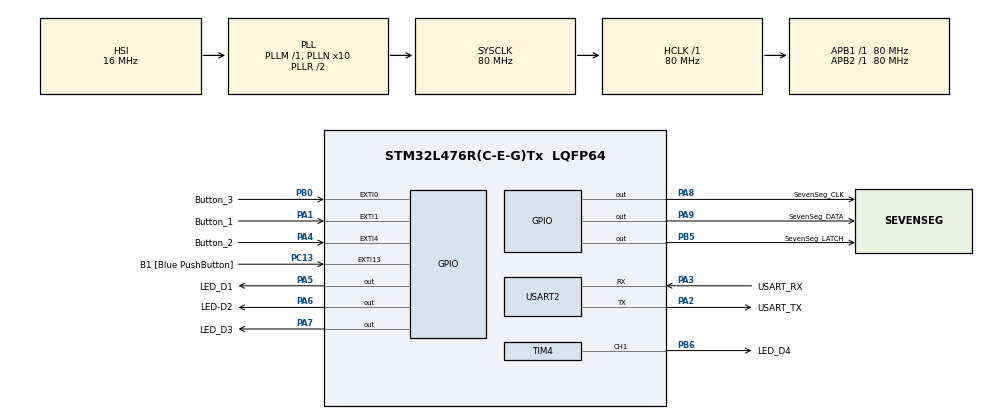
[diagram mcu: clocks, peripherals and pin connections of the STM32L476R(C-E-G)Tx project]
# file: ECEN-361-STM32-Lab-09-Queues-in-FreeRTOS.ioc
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FREERTOS.BinarySemaphores01=ProcessSemaphore,Dynamic,NULL
FREERTOS.Queues01=ASCII_Char_Queue,50,uint8_t,0,Static,ASCII_Char_QueueBuffer,ASCII_Char_QueueControlBlock
FREERTOS.Tasks01=defaultTask,24,512,StartDefaultTask,Default,NULL,Dynamic,NULL,NULL
FREERTOS.Timers01=RandomSymbolTimer,Add_Random_Symbols_to_Queue,osTimerPeriodic,Default,NULL,Dynamic,NULL;lowercaseTimer,Add_Random_lowercase_to_Queue,osTimerPeriodic,Default,NULL,Dynamic,NULL
FREERTOS.configTOTAL_HEAP_SIZE=50000
FREERTOS.configUSE_NEWLIB_REENTRANT=1
Mcu.Family=STM32L4
Mcu.Name=STM32L476R(C-E-G)Tx
Mcu.Package=LQFP64
NVIC.EXTI0_IRQn=true\:5\:0\:false\:false\:true\:true\:true\:true\:true
NVIC.EXTI15_10_IRQn=true\:5\:0\:false\:false\:true\:true\:true\:true\:true
NVIC.EXTI1_IRQn=true\:5\:0\:false\:false\:true\:true\:true\:true\:true
NVIC.EXTI4_IRQn=true\:5\:0\:false\:false\:true\:true\:true\:true\:true
NVIC.PriorityGroup=NVIC_PRIORITYGROUP_4
NVIC.TIM1_TRG_COM_TIM17_IRQn=true\:5\:0\:false\:false\:true\:true\:true\:true\:true
NVIC.TIM2_IRQn=true\:15\:0\:false\:false\:true\:false\:false\:true\:true
NVIC.TIM7_IRQn=true\:5\:0\:false\:false\:true\:true\:true\:true\:true
NVIC.TimeBase=TIM2_IRQn
NVIC.TimeBaseIP=TIM2
NVIC.USART2_IRQn=true\:5\:0\:false\:false\:true\:true\:true\:true\:true
PA1.GPIO_Label=Button_1
PA1.GPIO_ModeDefaultEXTI=GPIO_MODE_IT_FALLING
PA1.Signal=GPXTI1
PA13\ (JTMS-SWDIO).GPIO_Label=TMS
PA13\ (JTMS-SWDIO).Mode=Serial_Wire
PA13\ (JTMS-SWDIO).Signal=SYS_JTMS-SWDIO
PA14\ (JTCK-SWCLK).GPIO_Label=TCK
PA14\ (JTCK-SWCLK).Mode=Serial_Wire
PA14\ (JTCK-SWCLK).Signal=SYS_JTCK-SWCLK
PA2.GPIO_Label=USART_TX
PA2.GPIO_Mode=GPIO_MODE_AF_PP
PA2.GPIO_PuPd=GPIO_NOPULL
PA2.GPIO_Speed=GPIO_SPEED_FREQ_VERY_HIGH
PA2.Mode=Asynchronous
PA2.Signal=USART2_TX
PA3.GPIO_Label=USART_RX
PA3.GPIO_Mode=GPIO_MODE_AF_PP
PA3.GPIO_PuPd=GPIO_NOPULL
PA3.GPIO_Speed=GPIO_SPEED_FREQ_VERY_HIGH
PA3.Mode=Asynchronous
PA3.Signal=USART2_RX
PA4.GPIO_Label=Button_2
PA4.GPIO_ModeDefaultEXTI=GPIO_MODE_IT_FALLING
PA4.Signal=GPXTI4
PA5.GPIO_Label=LED_D1
PA5.GPIO_ModeDefaultOutputPP=GPIO_MODE_OUTPUT_OD
PA5.GPIO_PuPd=GPIO_PULLUP
PA5.Signal=GPIO_Output
PA6.GPIO_Label=LED-D2
PA6.GPIO_ModeDefaultOutputPP=GPIO_MODE_OUTPUT_OD
PA6.GPIO_PuPd=GPIO_PULLUP
PA6.Signal=GPIO_Output
PA7.GPIO_Label=LED_D3
PA7.Signal=GPIO_Output
PA8.GPIO_Label=SevenSeg_CLK
PA8.Signal=GPIO_Output
PA9.GPIO_Label=SevenSeg_DATA
PA9.Signal=GPIO_Output
PB0.GPIO_Label=Button_3
PB0.GPIO_ModeDefaultEXTI=GPIO_MODE_IT_FALLING
PB0.Signal=GPXTI0
PB3\ (JTDO-TRACESWO).Signal=SYS_JTDO-SWO
PB5.GPIO_Label=SevenSeg_LATCH
PB5.Signal=GPIO_Output
PB6.GPIO_FM6=SYSCFG_FASTMODEPLUS_PB6
PB6.GPIO_Label=LED_D4
PB6.GPIO_ModeDefaultPP=GPIO_MODE_AF_OD
PB6.GPIO_PuPd=GPIO_NOPULL
PB6.GPIO_Speed=GPIO_SPEED_FREQ_VERY_HIGH
PB6.Signal=S_TIM4_CH1
PC1.GPIO_Label=LM35_IN
PC1.Signal=ADCx_IN2
PC13.GPIO_Label=B1 [Blue PushButton]
PC13.GPIO_ModeDefaultEXTI=GPIO_MODE_IT_FALLING
PC13.GPIO_PuPd=GPIO_NOPULL
PC13.Signal=GPXTI13
PC14-OSC32_IN\ (PC14).Mode=LSE-External-Oscillator
PC14-OSC32_IN\ (PC14).Signal=RCC_OSC32_IN
PC15-OSC32_OUT\ (PC15).Mode=LSE-External-Oscillator
PC15-OSC32_OUT\ (PC15).Signal=RCC_OSC32_OUT
PH0-OSC_IN\ (PH0).Signal=RCC_OSC_IN
PH1-OSC_OUT\ (PH1).Signal=RCC_OSC_OUT
ProjectManager.HeapSize=0x200
ProjectManager.StackSize=0x400
ProjectManager.TargetToolchain=STM32CubeIDE
RCC.ADCFreq_Value=64000000
RCC.AHBFreq_Value=80000000
RCC.APB1Freq_Value=80000000
RCC.APB1TimFreq_Value=80000000
RCC.APB2Freq_Value=80000000
RCC.APB2TimFreq_Value=80000000
RCC.CortexFreq_Value=80000000
RCC.HCLKFreq_Value=80000000
RCC.HSE_VALUE=8000000
RCC.HSI_VALUE=16000000
RCC.MSI_VALUE=4000000
RCC.PLLN=10
RCC.PLLSourceVirtual=RCC_PLLSOURCE_HSI
RCC.PREFETCH_ENABLE=1
RCC.SYSCLKFreq_VALUE=80000000
RCC.SYSCLKSource=RCC_SYSCLKSOURCE_PLLCLK
RCC.USBFreq_Value=64000000
RCC.VCOOutputFreq_Value=160000000
SH.ADCx_IN2.0=ADC1_IN2
SH.S_TIM4_CH1.0=TIM4_CH1,PWM Generation1 CH1
TIM17.Period=100
TIM17.Prescaler=800-1
TIM4.Channel-PWM\ Generation1\ CH1=TIM_CHANNEL_1
TIM4.OCFastMode_PWM-PWM\ Generation1\ CH1=TIM_OCFAST_DISABLE
TIM4.OCPolarity_1=TIM_OCPOLARITY_LOW
TIM4.Period=65535
TIM4.Prescaler=8
TIM4.Pulse-PWM\ Generation1\ CH1=16000
TIM7.Period=1000
TIM7.Prescaler=8000 - 1
USART2.VirtualMode-Asynchronous=VM_ASYNC
VP_FREERTOS_VS_CMSIS_V2.Mode=CMSIS_V2
VP_SYS_VS_tim2.Mode=TIM2
VP_TIM17_VS_ClockSourceINT.Mode=Enable_Timer
VP_TIM4_VS_ClockSourceINT.Mode=Internal
VP_TIM7_VS_ClockSourceINT.Mode=Enable_Timer
board=NUCLEO-L476RG

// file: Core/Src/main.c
/* USER CODE BEGIN Header */
/**
  ******************************************************************************
  * @file           : main.c
  * @brief          : ECEN-361-Lab-08  Queues
  *
  * BYU-Idaho
  * Fall-2023 :   Lynn Watson
  *
  * See the  STUDENTS EDITABLE places below to modify for submission
  *
  ******************************************************************************
  */
/* USER CODE END Header */
#include "main.h"
#include "cmsis_os.h"

/* USER CODE BEGIN Includes */
#include "MultiFunctionShield.h"
#include <stdio.h>
#include <stdlib.h>
#include <stdbool.h>
#include <math.h>
#include <ctype.h>
#include "queue.h"

/* USER CODE END Includes */

typedef StaticQueue_t osStaticMessageQDef_t;

/* USER CODE BEGIN PD */
#define QUEUE_SIZE 50

/* USER CODE END PD */

TIM_HandleTypeDef htim4;
TIM_HandleTypeDef htim7;
TIM_HandleTypeDef htim17;

UART_HandleTypeDef huart2;

/* Definitions for defaultTask */
osThreadId_t defaultTaskHandle;
const osThreadAttr_t defaultTask_attributes = {
  .name = "defaultTask",
  .stack_size = 512 * 4,
  .priority = (osPriority_t) osPriorityNormal,
};
/* Definitions for ASCII_Char_Queue */
osMessageQueueId_t ASCII_Char_QueueHandle;
uint8_t ASCII_Char_QueueBuffer[ 50 * sizeof( uint8_t ) ];
osStaticMessageQDef_t ASCII_Char_QueueControlBlock;
const osMessageQueueAttr_t ASCII_Char_Queue_attributes = {
  .name = "ASCII_Char_Queue",
  .cb_mem = &ASCII_Char_QueueControlBlock,
  .cb_size = sizeof(ASCII_Char_QueueControlBlock),
  .mq_mem = &ASCII_Char_QueueBuffer,
  .mq_size = sizeof(ASCII_Char_QueueBuffer)
};
/* Definitions for RandomSymbolTimer */
osTimerId_t RandomSymbolTimerHandle;
const osTimerAttr_t RandomSymbolTimer_attributes = {
  .name = "RandomSymbolTimer"
};
/* Definitions for lowercaseTimer */
osTimerId_t lowercaseTimerHandle;
const osTimerAttr_t lowercaseTimer_attributes = {
  .name = "lowercaseTimer"
};
/* Definitions for ProcessSemaphore */
osSemaphoreId_t ProcessSemaphoreHandle;
const osSemaphoreAttr_t ProcessSemaphore_attributes = {
  .name = "ProcessSemaphore"
};
/* USER CODE BEGIN PV */

const osThreadAttr_t bigStackTask_attributes = {
  .name = "bigStackTask",
  .stack_size = 2048 * 4,
  .priority = (osPriority_t) osPriorityNormal,
};

/* Here are pointers to the tasks so I can suspend/resume */
osThreadId_t bigTaskHandle;
const osThreadAttr_t bigTask_attributes = {
  .name = "bigTask",
  .stack_size = 2048 * 4,
  .priority = (osPriority_t) osPriorityNormal,
};

osThreadId_t Display_Queue_Status_Task_Handle;
osThreadId_t Process_Queue_Task_Handle;

/* USER CODE END PV */

void SystemClock_Config(void);
static void MX_GPIO_Init(void);
static void MX_USART2_UART_Init(void);
static void MX_TIM17_Init(void);
static void MX_TIM4_Init(void);
static void MX_TIM7_Init(void);
void StartDefaultTask(void *argument);
void Add_Random_Symbols_to_Queue(void *argument);
void Add_Random_lowercase_to_Queue(void *argument);

/* USER CODE BEGIN PFP */
/* Private function prototypes -----------------------------------------------*/
void Process_Queue_Task(void *argument);
void Display_Queue_Status_Task(void *argument);
void process_button_Task(void *argument);
#define PUTCHAR_PROTOTYPE int __io_putchar(int ch)
void Random_Symbols_is_Running_Task(void *argument);
void Random_lowercase_is_Running_Task(void *argument);
// void Read_and_Transmit_Task();
// void Receive_and_Print_Task();

/* USER CODE END PFP */

/* USER CODE BEGIN 0 */
/*** Globals *********/
uint8_t RX_Buffer[BUFFER_SIZE] = {0};
uint8_t recvd_data; // byte in from USART

/*** Timings for the producers and consumers ****************/
/**************  Producers **********************************/
int Random_Symbol_Timer_Speed = 1500;     /* A symbol every 1.5-second */
int Random_lowercase_Timer_Speed = 1800;  /* A lowercase every  1.8 second */
/**************  Consumer  **********************************/
int read_pacing_delay = 2000;		// Millisec to wait before taking each character
/************************************************************/

/*Switch 3 */
bool resetQueue=false;
osStatus_t timer_status;
uint8_t button_pushed = 0;			// button to go to processes
bool  randoms_running = true;		// toggle with Switch S3

char get_random_char(int bottom,int top)
	{
	uint8_t rand_char;
	rand_char =  rand() % (top-bottom);
	/* the rand is in the range, so index it from the bottom */
	return rand_char + bottom;

	}

/* USER CODE END 0 */

int main(void)
{

  /* MCU Configuration--------------------------------------------------------*/

  /* Reset of all peripherals, Initializes the Flash interface and the Systick. */
  HAL_Init();

  /* Configure the system clock */
  SystemClock_Config();

  /* Initialize all configured peripherals */
  MX_GPIO_Init();
  MX_USART2_UART_Init();
  MX_TIM17_Init();
  MX_TIM4_Init();
  MX_TIM7_Init();
  /* USER CODE BEGIN 2 */

  // Start timer
  HAL_TIM_Base_Start_IT(&htim17);							// LED SevenSeg cycle thru them
  MultiFunctionShield_Clear();								// Clear the 7-seg display
  Clear_LEDs();												// Clear the lights
  printf("\033\143");
  printf("\033[6;3HHello\r\n");
  printf("\033\143");
  printf("Welcome to ECEN-361 Lab-07\n\r\n\r");
  printf("Button_1:  Toggles Symbols     Button_2:  Toggles Lowercase \n\r\n\r");
  HAL_UART_Receive_IT(&huart2,&recvd_data,1); //start next data receive interrupt
/**
 * Note that Timer-1 Channel 1 goes to our MultiBoard D3, and it's Negative True output
 *
 */

  /* USER CODE END 2 */

  /* Init scheduler */
  osKernelInitialize();

  /* Create the semaphores(s) */
  /* creation of ProcessSemaphore */
  ProcessSemaphoreHandle = osSemaphoreNew(1, 0, &ProcessSemaphore_attributes);

  /* Create the timer(s) */
  /* creation of RandomSymbolTimer */
  RandomSymbolTimerHandle = osTimerNew(Add_Random_Symbols_to_Queue, osTimerPeriodic, NULL, &RandomSymbolTimer_attributes);

  /* creation of lowercaseTimer */
  lowercaseTimerHandle = osTimerNew(Add_Random_lowercase_to_Queue, osTimerPeriodic, NULL, &lowercaseTimer_attributes);

  /* USER CODE BEGIN RTOS_TIMERS */
  /* start timers, add new ones, ... */

  /** Start sending random symbols **/
  timer_status = osTimerStart(RandomSymbolTimerHandle,Random_Symbol_Timer_Speed);
  timer_status = osTimerStart(lowercaseTimerHandle,Random_lowercase_Timer_Speed);

  /* USER CODE END RTOS_TIMERS */

  /* Create the queue(s) */
  /* creation of ASCII_Char_Queue */
  ASCII_Char_QueueHandle = osMessageQueueNew (50, sizeof(uint8_t), &ASCII_Char_Queue_attributes);

  /* Create the thread(s) */
  /* creation of defaultTask */
  defaultTaskHandle = osThreadNew(StartDefaultTask, NULL, &defaultTask_attributes);

  /* USER CODE BEGIN RTOS_THREADS */
  /* add threads, ... */
  osThreadNew(Random_Symbols_is_Running_Task, "Random_Symbols_is_Running_Task", &defaultTask_attributes);
  osThreadNew(Random_lowercase_is_Running_Task, "Random_lowercase_is_Running_Task", &defaultTask_attributes);
  osThreadNew(Process_Queue_Task,"Process_Queue_Task", &defaultTask_attributes);
  osThreadNew(Display_Queue_Status_Task,"DisplayQueueStatus" , &defaultTask_attributes);
  osThreadNew(process_button_Task,"Process Button Task" , &bigTask_attributes);

  /* USER CODE END RTOS_THREADS */

  /* Start scheduler */
  osKernelStart();

  /* We should never get here as control is now taken by the scheduler */

  /* Infinite loop */
  while (1)
	  {

    /* USER CODE BEGIN 3 */
		// Read_and_Transmit_Task();
		}
  /* USER CODE END 3 */
}

void SystemClock_Config(void)
{
  RCC_OscInitTypeDef RCC_OscInitStruct = {0};
  RCC_ClkInitTypeDef RCC_ClkInitStruct = {0};

  /** Configure the main internal regulator output voltage
  */
  if (HAL_PWREx_ControlVoltageScaling(PWR_REGULATOR_VOLTAGE_SCALE1) != HAL_OK)
  {
    Error_Handler();
  }

  /** Initializes the RCC Oscillators according to the specified parameters
  * in the RCC_OscInitTypeDef structure.
  */
  RCC_OscInitStruct.OscillatorType = RCC_OSCILLATORTYPE_HSI;
  RCC_OscInitStruct.HSIState = RCC_HSI_ON;
  RCC_OscInitStruct.HSICalibrationValue = RCC_HSICALIBRATION_DEFAULT;
  RCC_OscInitStruct.PLL.PLLState = RCC_PLL_ON;
  RCC_OscInitStruct.PLL.PLLSource = RCC_PLLSOURCE_HSI;
  RCC_OscInitStruct.PLL.PLLM = 1;
  RCC_OscInitStruct.PLL.PLLN = 10;
  RCC_OscInitStruct.PLL.PLLP = RCC_PLLP_DIV7;
  RCC_OscInitStruct.PLL.PLLQ = RCC_PLLQ_DIV2;
  RCC_OscInitStruct.PLL.PLLR = RCC_PLLR_DIV2;
  if (HAL_RCC_OscConfig(&RCC_OscInitStruct) != HAL_OK)
  {
    Error_Handler();
  }

  /** Initializes the CPU, AHB and APB buses clocks
  */
  RCC_ClkInitStruct.ClockType = RCC_CLOCKTYPE_HCLK|RCC_CLOCKTYPE_SYSCLK
                              |RCC_CLOCKTYPE_PCLK1|RCC_CLOCKTYPE_PCLK2;
  RCC_ClkInitStruct.SYSCLKSource = RCC_SYSCLKSOURCE_PLLCLK;
  RCC_ClkInitStruct.AHBCLKDivider = RCC_SYSCLK_DIV1;
  RCC_ClkInitStruct.APB1CLKDivider = RCC_HCLK_DIV1;
  RCC_ClkInitStruct.APB2CLKDivider = RCC_HCLK_DIV1;

  if (HAL_RCC_ClockConfig(&RCC_ClkInitStruct, FLASH_LATENCY_4) != HAL_OK)
  {
    Error_Handler();
  }
}

static void MX_TIM4_Init(void)
{

  TIM_ClockConfigTypeDef sClockSourceConfig = {0};
  TIM_MasterConfigTypeDef sMasterConfig = {0};
  TIM_OC_InitTypeDef sConfigOC = {0};

  htim4.Instance = TIM4;
  htim4.Init.Prescaler = 8;
  htim4.Init.CounterMode = TIM_COUNTERMODE_UP;
  htim4.Init.Period = 65535;
  htim4.Init.ClockDivision = TIM_CLOCKDIVISION_DIV1;
  htim4.Init.AutoReloadPreload = TIM_AUTORELOAD_PRELOAD_DISABLE;
  if (HAL_TIM_Base_Init(&htim4) != HAL_OK)
  {
    Error_Handler();
  }
  sClockSourceConfig.ClockSource = TIM_CLOCKSOURCE_INTERNAL;
  if (HAL_TIM_ConfigClockSource(&htim4, &sClockSourceConfig) != HAL_OK)
  {
    Error_Handler();
  }
  if (HAL_TIM_PWM_Init(&htim4) != HAL_OK)
  {
    Error_Handler();
  }
  sMasterConfig.MasterOutputTrigger = TIM_TRGO_RESET;
  sMasterConfig.MasterSlaveMode = TIM_MASTERSLAVEMODE_DISABLE;
  if (HAL_TIMEx_MasterConfigSynchronization(&htim4, &sMasterConfig) != HAL_OK)
  {
    Error_Handler();
  }
  sConfigOC.OCMode = TIM_OCMODE_PWM1;
  sConfigOC.Pulse = 16000;
  sConfigOC.OCPolarity = TIM_OCPOLARITY_LOW;
  sConfigOC.OCFastMode = TIM_OCFAST_DISABLE;
  if (HAL_TIM_PWM_ConfigChannel(&htim4, &sConfigOC, TIM_CHANNEL_1) != HAL_OK)
  {
    Error_Handler();
  }
  HAL_TIM_MspPostInit(&htim4);

}

static void MX_TIM7_Init(void)
{

  TIM_MasterConfigTypeDef sMasterConfig = {0};

  htim7.Instance = TIM7;
  htim7.Init.Prescaler = 8000 - 1;
  htim7.Init.CounterMode = TIM_COUNTERMODE_UP;
  htim7.Init.Period = 1000;
  htim7.Init.AutoReloadPreload = TIM_AUTORELOAD_PRELOAD_DISABLE;
  if (HAL_TIM_Base_Init(&htim7) != HAL_OK)
  {
    Error_Handler();
  }
  sMasterConfig.MasterOutputTrigger = TIM_TRGO_RESET;
  sMasterConfig.MasterSlaveMode = TIM_MASTERSLAVEMODE_DISABLE;
  if (HAL_TIMEx_MasterConfigSynchronization(&htim7, &sMasterConfig) != HAL_OK)
  {
    Error_Handler();
  }

}

static void MX_TIM17_Init(void)
{

  htim17.Instance = TIM17;
  htim17.Init.Prescaler = 800-1;
  htim17.Init.CounterMode = TIM_COUNTERMODE_UP;
  htim17.Init.Period = 100;
  htim17.Init.ClockDivision = TIM_CLOCKDIVISION_DIV1;
  htim17.Init.RepetitionCounter = 0;
  htim17.Init.AutoReloadPreload = TIM_AUTORELOAD_PRELOAD_DISABLE;
  if (HAL_TIM_Base_Init(&htim17) != HAL_OK)
  {
    Error_Handler();
  }

}

static void MX_USART2_UART_Init(void)
{

  huart2.Instance = USART2;
  huart2.Init.BaudRate = 115200;
  huart2.Init.WordLength = UART_WORDLENGTH_8B;
  huart2.Init.StopBits = UART_STOPBITS_1;
  huart2.Init.Parity = UART_PARITY_NONE;
  huart2.Init.Mode = UART_MODE_TX_RX;
  huart2.Init.HwFlowCtl = UART_HWCONTROL_NONE;
  huart2.Init.OverSampling = UART_OVERSAMPLING_16;
  huart2.Init.OneBitSampling = UART_ONE_BIT_SAMPLE_DISABLE;
  huart2.AdvancedInit.AdvFeatureInit = UART_ADVFEATURE_NO_INIT;
  if (HAL_UART_Init(&huart2) != HAL_OK)
  {
    Error_Handler();
  }

}

static void MX_GPIO_Init(void)
{
  GPIO_InitTypeDef GPIO_InitStruct = {0};

  /* GPIO Ports Clock Enable */
  __HAL_RCC_GPIOC_CLK_ENABLE();
  __HAL_RCC_GPIOH_CLK_ENABLE();
  __HAL_RCC_GPIOA_CLK_ENABLE();
  __HAL_RCC_GPIOB_CLK_ENABLE();

  /*Configure GPIO pin Output Level */
  HAL_GPIO_WritePin(GPIOA, LED_D1_Pin|LED_D2_Pin|LED_D3_Pin|SevenSeg_CLK_Pin
                          |SevenSeg_DATA_Pin, GPIO_PIN_RESET);

  /*Configure GPIO pin Output Level */
  HAL_GPIO_WritePin(SevenSeg_LATCH_GPIO_Port, SevenSeg_LATCH_Pin, GPIO_PIN_RESET);

  /*Configure GPIO pin : B1_Pin */
  GPIO_InitStruct.Pin = B1_Pin;
  GPIO_InitStruct.Mode = GPIO_MODE_IT_FALLING;
  GPIO_InitStruct.Pull = GPIO_NOPULL;
  HAL_GPIO_Init(B1_GPIO_Port, &GPIO_InitStruct);

  /*Configure GPIO pin : LM35_IN_Pin */
  GPIO_InitStruct.Pin = LM35_IN_Pin;
  GPIO_InitStruct.Mode = GPIO_MODE_ANALOG_ADC_CONTROL;
  GPIO_InitStruct.Pull = GPIO_NOPULL;
  HAL_GPIO_Init(LM35_IN_GPIO_Port, &GPIO_InitStruct);

  /*Configure GPIO pins : Button_1_Pin Button_2_Pin */
  GPIO_InitStruct.Pin = Button_1_Pin|Button_2_Pin;
  GPIO_InitStruct.Mode = GPIO_MODE_IT_FALLING;
  GPIO_InitStruct.Pull = GPIO_NOPULL;
  HAL_GPIO_Init(GPIOA, &GPIO_InitStruct);

  /*Configure GPIO pins : LED_D1_Pin LED_D2_Pin */
  GPIO_InitStruct.Pin = LED_D1_Pin|LED_D2_Pin;
  GPIO_InitStruct.Mode = GPIO_MODE_OUTPUT_OD;
  GPIO_InitStruct.Pull = GPIO_PULLUP;
  GPIO_InitStruct.Speed = GPIO_SPEED_FREQ_LOW;
  HAL_GPIO_Init(GPIOA, &GPIO_InitStruct);

  /*Configure GPIO pins : LED_D3_Pin SevenSeg_CLK_Pin SevenSeg_DATA_Pin */
  GPIO_InitStruct.Pin = LED_D3_Pin|SevenSeg_CLK_Pin|SevenSeg_DATA_Pin;
  GPIO_InitStruct.Mode = GPIO_MODE_OUTPUT_PP;
  GPIO_InitStruct.Pull = GPIO_NOPULL;
  GPIO_InitStruct.Speed = GPIO_SPEED_FREQ_LOW;
  HAL_GPIO_Init(GPIOA, &GPIO_InitStruct);

  /*Configure GPIO pin : Button_3_Pin */
  GPIO_InitStruct.Pin = Button_3_Pin;
  GPIO_InitStruct.Mode = GPIO_MODE_IT_FALLING;
  GPIO_InitStruct.Pull = GPIO_NOPULL;
  HAL_GPIO_Init(Button_3_GPIO_Port, &GPIO_InitStruct);

  /*Configure GPIO pin : SevenSeg_LATCH_Pin */
  GPIO_InitStruct.Pin = SevenSeg_LATCH_Pin;
  GPIO_InitStruct.Mode = GPIO_MODE_OUTPUT_PP;
  GPIO_InitStruct.Pull = GPIO_NOPULL;
  GPIO_InitStruct.Speed = GPIO_SPEED_FREQ_LOW;
  HAL_GPIO_Init(SevenSeg_LATCH_GPIO_Port, &GPIO_InitStruct);

  /* EXTI interrupt init*/
  HAL_NVIC_SetPriority(EXTI0_IRQn, 5, 0);
  HAL_NVIC_EnableIRQ(EXTI0_IRQn);

  HAL_NVIC_SetPriority(EXTI1_IRQn, 5, 0);
  HAL_NVIC_EnableIRQ(EXTI1_IRQn);

  HAL_NVIC_SetPriority(EXTI4_IRQn, 5, 0);
  HAL_NVIC_EnableIRQ(EXTI4_IRQn);

  HAL_NVIC_SetPriority(EXTI15_10_IRQn, 5, 0);
  HAL_NVIC_EnableIRQ(EXTI15_10_IRQn);

}

/* USER CODE BEGIN 4 */

/************  Task-Creation-Part-B *****************/
/*
 * Make D2 show that random symbols are being put on
 *      D3 show that random lowercase are being put on
 */

void Random_Symbols_is_Running_Task(void *argument)
	{ while(true)
		{
			 if (osTimerIsRunning(RandomSymbolTimerHandle))
				  HAL_GPIO_TogglePin(LED_D2_GPIO_Port,LED_D2_Pin);
			 else		/* turn it off */
				  HAL_GPIO_WritePin(LED_D2_GPIO_Port,LED_D2_Pin,GPIO_PIN_SET);
			  osDelay(300);
		}
	}
void Random_lowercase_is_Running_Task(void *argument)
	{ while(true)
		{
			 if (osTimerIsRunning(lowercaseTimerHandle))
				  HAL_GPIO_TogglePin(LED_D2_GPIO_Port,LED_D3_Pin);
			 else		/* turn it off */
				  HAL_GPIO_WritePin(LED_D2_GPIO_Port,LED_D3_Pin,GPIO_PIN_SET);
			  osDelay(300);
		}
	}

void Process_Queue_Task(void *argument)
	{
	char got_char;
	uint8_t msg_prio =100;
	/*
	 *
	 * This process consumes items in the queue, but at a determined
	 * rate.   Pacing matches a real-situation where the downstream
	 * consumer can't take things as fast as they may come.
	 * There are various ways to pace the consumption, but to be simple
	 * we'll just use the OS and osDelay to hold off on the loop
	 */
	while(true)
		{
		if (randoms_running)
			{
			if (osMessageQueueGet(ASCII_Char_QueueHandle, &got_char, &msg_prio, (uint32_t) 1) == osOK)
				{
				int queueCount = osMessageQueueGetCount (ASCII_Char_QueueHandle);
				volatile char *point = (char *) (ASCII_Char_QueueBuffer + queueCount);
				*point = ' ';
				}
			osDelay(read_pacing_delay);
			}
		}
	}

void Display_Queue_Status_Task(void *argument)
	{
	int queueCount;
	int queueSize = sizeof(ASCII_Char_QueueBuffer);
	while (true)
		{
		/*
		 *  If Empty: "----"
		 *  If Full:  "FULL"
		 *  else Display the Count
		 */
		queueCount = osMessageQueueGetCount (ASCII_Char_QueueHandle);
		if (queueCount ==0)
			{   /* Display Empty*/
			MultiFunctionShield_Display(10000);   /* greater than 9999 puts the '----' */
			}
		else if (queueCount == (uint8_t)queueSize)
			{
			/* Display Full */
			// MultiFunctionShield_Display(880);
			Display_the_FULL();
			}
		else
			{
			MultiFunctionShield_Display((uint16_t) queueCount);
			}
		osDelay(10);
		}
	}

void Read_and_Transmit_Task()
	{
	uint8_t receive_byte;
	uint8_t bytes_in =0;
	uint8_t xmitmsg[] = "\n\rInput Line to Send ->";
	uint8_t sndmsg[] = "\n\rSending -> ";
	uint8_t *xmitmsg_ptr = xmitmsg;
	uint8_t *sndmsg_ptr = sndmsg;

		bytes_in = 0;
		receive_byte = 0;
		HAL_UART_Transmit(&huart2, xmitmsg_ptr, 23, HAL_MAX_DELAY);

		/* This task reads a line from the Serial/USB port and
		 * transmits out thru SPI
		 * Note that this is polling!  One byte at a time.  Very inefficient
		 */
		while (receive_byte != '\r')
		{
			while (HAL_UART_Receive(&huart2, &receive_byte, 1,10) != HAL_OK) osDelay(1);
			/* Now we have a byte, if it's a carriage return, send the string
			 * If not, put it on the buffer
			 */
			RX_Buffer[bytes_in] = receive_byte;
			HAL_UART_Transmit(&huart2, &RX_Buffer[bytes_in++] , 1, HAL_MAX_DELAY);  //echo each one as it's typed
		}

		RX_Buffer[bytes_in++] = '\n'; // Add a line_feed
		// Tell the User what we got and what we're sending
		HAL_UART_Transmit(&huart2, sndmsg_ptr, 13, HAL_MAX_DELAY);
		//HAL_UART_Transmit(&huart2, receive_buffer_ptr, bytes_in, HAL_MAX_DELAY);
		HAL_UART_Transmit(&huart2, RX_Buffer, bytes_in, HAL_MAX_DELAY);

	}

/**
  * @brief  Retargets the C library printf function to the USART.
  * @param  None
  * @retval None
  */
PUTCHAR_PROTOTYPE
{
  /* Place your implementation of fputc here */
  /* e.g. write a character to the USART1 and Loop until the end of transmission */
  HAL_UART_Transmit(&huart2, (uint8_t *)&ch, 1, 0xFFFF);

  return ch;
}

void process_button_Task(void *arguments)
	{
	/*
	 * The whole reason we don't just do these things inside the ISR itself is
	 * that queue operations can't be done from within an ISR.  This makes sense
	 * because the OS wouldn't be able to handle push/pop from the queue from other
	 * processes if operations were being done in an ISR too.
	 */
	char got_char = '\0';
	char * got_char_ptr = &got_char;
	uint8_t msg_prio =100;
	char queue_dump[QUEUE_SIZE+1]; // in case we have to add an extra '\0' to print
	while(true)
		{
		switch(button_pushed)
			{
			case 0:
				osDelay(1);
			break;

					// HAL_NVIC_EnableIRQ(EXTI4_IRQn);
					// HAL_NVIC_DisableIRQ(EXTI1_IRQn);
			case 1:
				/* Button_1  is START/STOP the random symbols (! .... 0)*/
				 if (osTimerIsRunning(RandomSymbolTimerHandle))
					timer_status = osTimerStop(RandomSymbolTimerHandle);
				else
					{
					timer_status = osTimerStart(RandomSymbolTimerHandle,Random_Symbol_Timer_Speed);
					HAL_NVIC_EnableIRQ(EXTI1_IRQn);
					}
			break;

			case 2: /* Button_2  is START/STOP the lowercase (! .... 0)*/
				 if (osTimerIsRunning(lowercaseTimerHandle))
					timer_status = osTimerStop(lowercaseTimerHandle);
				else
					{
					timer_status = osTimerStart(lowercaseTimerHandle,Random_lowercase_Timer_Speed);
					HAL_NVIC_EnableIRQ(EXTI4_IRQn);
					}
			break;

			case 3:
				{
				int q=0;

				/* ****************** STUDENT EDITABLE CODE START ******************* */
				/*
				 * This button ISR toggles the Queue Running
				 * If we're already halted, then restart the consumer and producers
				 * If we're running, then halt
				 *
				 *
				 */
				if (randoms_running)     //Start the HALT here
					{

				 /*
				  *
				  * To halt -- you'll need to:
				   * 1.) Shut off the producers
				   * 		Two of them produce on a timer, so stop the timers
				   * 		One of the producers is just the keyboard so you can
				   * 		assume the person quits typing.
				   *
				   * 2.) Stop the consumer -- This can be done with the
				   *     randoms_running variable
				   */
					randoms_running = true;	//done for you
				  /*
				   *
				   * 3.) Flush the Queue
				   * 		(You might want to print it out before resetting -- printf's below)
				   */
					printf("QUEUE INPUT HALTED    Flush below:\n\r");
					printf("QUEUE   0        1         2         3         4         5\n\r");
					printf("        12345678901234567890123456789012345678901234567890\n%c%c",'\r','\r');
					while (osMessageQueueGet(ASCII_Char_QueueHandle, got_char_ptr, &msg_prio, (uint32_t) 1) == osOK)
						queue_dump[q++] = got_char;
					queue_dump[q] ='\0';		// to be a string, has to be terminated in a null
					printf("        %s\n\r",queue_dump);
				   /*
				    * 4.) Reset the Queues via the FreeRTOS command
				   */

					/*
					 * ???
					 */

					}
				else  // were halted so restart
					{
					// Cleared out the shadow to print for the string display next time
					printf("QUEUE Resumed\n\r\r");
					// Turn on the consumer
					randoms_running = true;
					// Turn on the random producers

					/*
					 * ???
					 */

					}
				 /* ******************* STUDENT EDITABLE CODE STOP ******************* */
			}
			break;
			}
			button_pushed = 0;
		    osDelay(20);  // Time to make sure the switch is debounced
		}
	}

void HAL_GPIO_EXTI_Callback(uint16_t GPIO_Pin)
	{
	// All three buttons generate GPIO  interrupts
	switch(GPIO_Pin)
		{
		case Button_1_Pin:
			button_pushed = 1;
			break;
		case Button_2_Pin:
			button_pushed = 2;
			break;
		case Button_3_Pin:
			button_pushed = 3;
			break;
		}

	}

/* USER CODE END 4 */

void StartDefaultTask(void *argument)
{
  /* USER CODE BEGIN 5 */
  /* Infinite loop */
  for(;;)
  {
    osDelay(10);
    if (resetQueue)
		{
		osMessageQueueReset (ASCII_Char_QueueHandle);
		resetQueue = false;
		}

  }
  /* USER CODE END 5 */
}

/* Add_Random_Symbols_to_Queue function */
void Add_Random_Symbols_to_Queue(void *argument)
{
  /* USER CODE BEGIN Add_Random_Symbols_to_Queue */
	char rand_sym = get_random_char('!','/');
	osMessageQueuePut(ASCII_Char_QueueHandle, &rand_sym, 100, 0U);
  /* USER CODE END Add_Random_Symbols_to_Queue */
}

/* Add_Random_lowercase_to_Queue function */
void Add_Random_lowercase_to_Queue(void *argument)
{
  /* USER CODE BEGIN Add_Random_lowercase_to_Queue */
/* ****************** STUDENT EDITABLE CODE START ******************* */

/* ****************** STUDENT EDITABLE CODE END ******************* */
  /* USER CODE END Add_Random_lowercase_to_Queue */
}

void HAL_TIM_PeriodElapsedCallback(TIM_HandleTypeDef *htim)
{
  /* USER CODE BEGIN Callback 0 */
	  if (htim == &htim17 ) { MultiFunctionShield__ISRFunc(); }
  /* USER CODE END Callback 0 */
  if (htim->Instance == TIM2)
  {
    HAL_IncTick();
  }
  /* USER CODE BEGIN Callback 1 */
	}

  /****  Character received from UART ****/
  //UART 2 receive complete callback

void HAL_UART_RxCpltCallback(UART_HandleTypeDef *huart)
	{
	if (huart == &huart2 )
		{
		uint8_t upper;
		upper = toupper(recvd_data);

		// HAL_UART_Transmit(&huart2, &upper ,1, HAL_MAX_DELAY);  //echo each one as it's typed

		// char myrand = get_random_char('a','z');
		//printf("\n\r\t[%c]\n\r",myrand);
		// Get cursor position
		// printf('\033[6n');
		srand((unsigned) recvd_data);
		osMessageQueuePut(ASCII_Char_QueueHandle, &upper, 100, 0U);
		HAL_UART_Receive_IT(&huart2,&recvd_data,1); //start next data receive interrupt
		// USART_ClearITPendingBit(&huart2, USART_IT);
		}

  /* USER CODE END Callback 1 */
}

void Error_Handler(void)
{
  __disable_irq();
  while (1)
  {
  }
}
